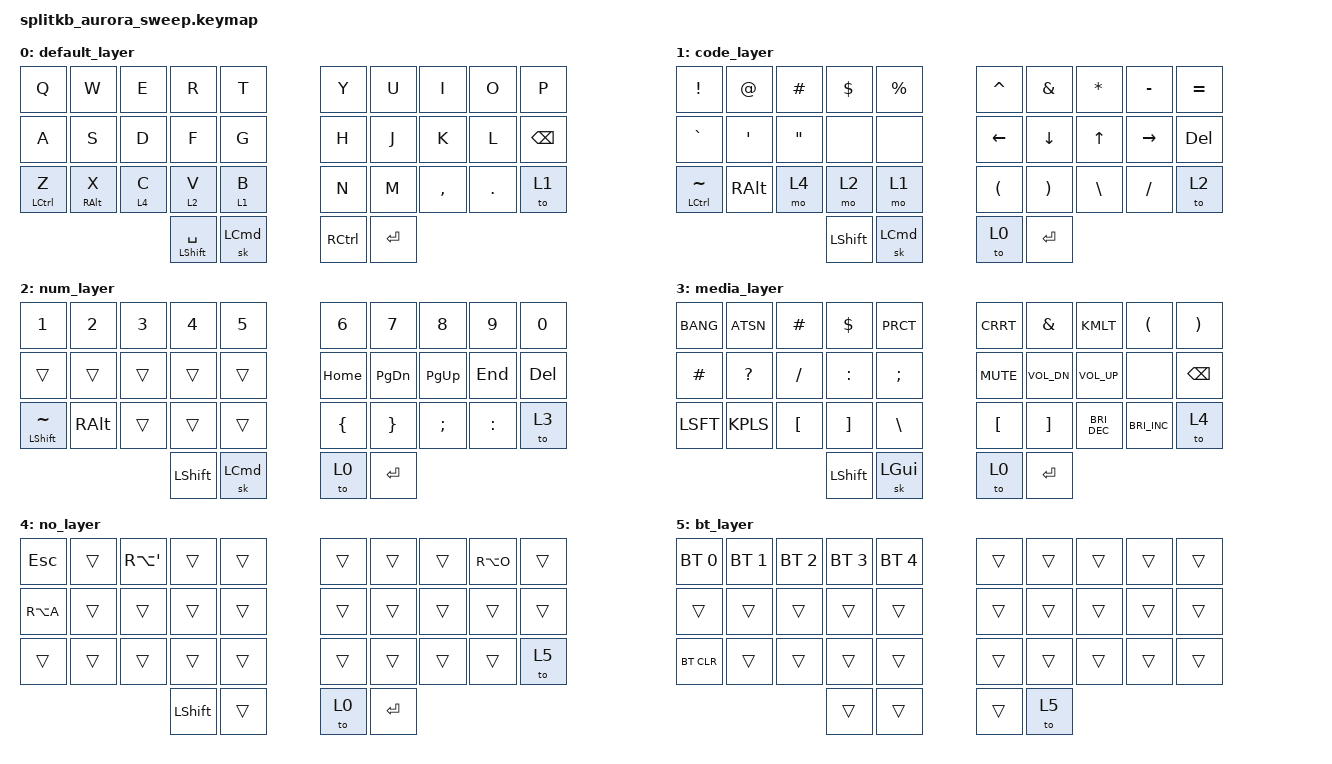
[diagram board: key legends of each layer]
/*
 * Copyright (c) 2022 The ZMK Contributors
 *
 * SPDX-License-Identifier: MIT
 */

#define HOST_OS 2

#include <behaviors.dtsi>
#include <dt-bindings/zmk/bt.h>
#include <dt-bindings/zmk/keys.h>

&mt {
    flavor = "tap-preferred";
    tapping_term_ms = <200>;
};

/ {
    combos {
        compatible = "zmk,combos";

        combo_esc {
            timeout-ms = <50>;
            key-positions = <0 1>;
            bindings = <&kp ESC>;
        };

        combo_tab {
            timeout-ms = <50>;
            key-positions = <3 4>;
            bindings = <&kp TAB>;
        };

        combo_layer3 {
            timeout-ms = <50>;
            key-positions = <23 24>;
            bindings = <&mo 3>;
        };
    };

    keymap {
        compatible = "zmk,keymap";

        default_layer {
            bindings = <
&kp Q           &kp W       &kp E    &kp R    &kp T      &kp Y  &kp U  &kp I      &kp O      &kp P
&kp A           &kp S       &kp D    &kp F    &kp G      &kp H  &kp J  &kp K      &kp L      &kp BKSP
&mt LCTRL Z     &mt RALT X  &lt 4 C  &lt 2 V  &lt 1 B    &kp N  &kp M  &kp COMMA  &kp DOT    &to 1
&mt LSHIFT SPC  &sk LCMD                                                          &kp RCTRL  &kp RET
            >;
        };

        code_layer {
            bindings = <
&kp EXCLAMATION  &kp AT            &kp HASH           &kp DOLLAR  &kp PERCENT    &kp CARET             &kp AMPERSAND          &kp ASTERISK   &kp MINUS  &kp EQUAL
&kp GRAVE        &kp SINGLE_QUOTE  &kp DOUBLE_QUOTES  &none       &none          &kp LEFT              &kp DOWN               &kp UP         &kp RIGHT  &kp DEL
&mt LCTRL TILDE  &kp RIGHT_ALT     &mo 4              &mo 2       &mo 1          &kp LEFT_PARENTHESIS  &kp RIGHT_PARENTHESIS  &kp BACKSLASH  &kp SLASH  &to 2
&kp LEFT_SHIFT   &sk LCMD                                                                                                                    &to 0      &kp RET
            >;
        };

        num_layer {
            bindings = <
&kp N1            &kp N2         &kp N3  &kp N4  &kp N5    &kp N6    &kp N7     &kp N8         &kp N9     &kp N0
&trans            &trans         &trans  &trans  &trans    &kp HOME  &kp PG_DN  &kp PG_UP      &kp END    &kp DELETE
&mt LSHIFT TILDE  &kp RIGHT_ALT  &trans  &trans  &trans    &kp LBRC  &kp RBRC   &kp SEMICOLON  &kp COLON  &to 3
&kp LEFT_SHIFT    &sk LCMD                                                                     &to 0      &kp RET
            >;
        };

        media_layer {
            bindings = <
&kp BANG        &kp ATSN   &kp HASH  &kp DLLR  &kp PRCT    &kp CRRT    &kp AMPS           &kp KMLT              &kp LPRN              &kp RPRN
&kp HASH        &kp QMARK  &kp FSLH  &kp COLN  &kp SCLN    &kp K_MUTE  &kp K_VOL_DN       &kp K_VOL_UP          &none                 &kp BKSP
&kp LSFT        &kp KPLS   &kp LBKT  &kp RBKT  &kp BSLH    &kp LBKT    &kp RIGHT_BRACKET  &kp C_BRIGHTNESS_DEC  &kp C_BRIGHTNESS_INC  &to 4
&kp LEFT_SHIFT  &sk LGUI                                                                                        &to 0                 &kp RET
            >;
        };

        no_layer {
            bindings = <
&kp ESC         &trans  &kp RA(SINGLE_QUOTE)  &trans  &trans    &trans  &trans  &trans  &kp RA(O)  &trans
&kp RA(A)       &trans  &trans                &trans  &trans    &trans  &trans  &trans  &trans     &trans
&trans          &trans  &trans                &trans  &trans    &trans  &trans  &trans  &trans     &to 5
&kp LEFT_SHIFT  &trans                                                                  &to 0      &kp RET
            >;
        };

        bt_layer {
            bindings = <
&bt BT_SEL 0  &bt BT_SEL 1  &bt BT_SEL 2  &bt BT_SEL 3  &bt BT_SEL 4    &trans  &trans  &trans  &trans  &trans
&trans        &trans        &trans        &trans        &trans          &trans  &trans  &trans  &trans  &trans
&bt BT_CLR    &trans        &trans        &trans        &trans          &trans  &trans  &trans  &trans  &trans
&trans        &trans                                                                            &trans  &to 5
            >;
        };
    };
};
